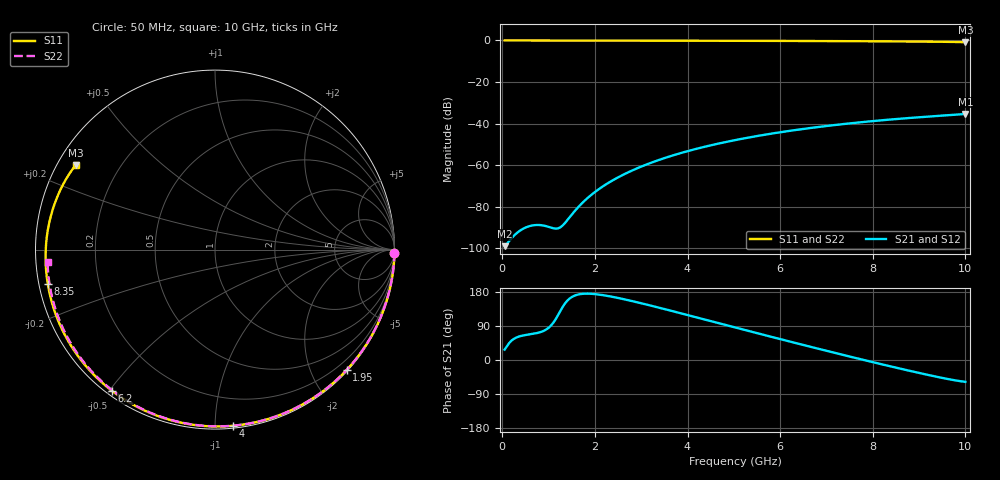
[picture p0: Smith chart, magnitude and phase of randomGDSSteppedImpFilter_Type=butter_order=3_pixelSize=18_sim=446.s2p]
! freq	dB(S11)	phase(S11)	dB(S12)	phase(S12)
!  dB(S21)	phase(S21)	dB(S22)	phase(S22)
!S-par simulation data
#  GHz  S  DB  R 50
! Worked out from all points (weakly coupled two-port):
!   200 points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, 50 MHz to 10 GHz, reference 50 ohm
!   highest |S21| = -35.42 dB at 10 GHz (marker M1); lowest = -99.1 dB at 50 MHz (marker M2)
!   lowest |S11| = -0.8 dB at 10 GHz (marker M3), VSWR 20.72, Z = 2.6 + j14 ohm
!   |S11| at or under -10 dB: nowhere
!   |S22| runs from -0.6 to 0.0 dB; largest |S21 - S12| = 0
!   S11 on the Smith chart (normalised r, x): 50 MHz: open; 1.95 GHz: 0.02, -2.58; 4 GHz: 0.01, -1.11; 6.2 GHz: 0.02, -0.51; 8.35 GHz: 0.03, -0.10; 10 GHz: 0.05, +0.28
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0.05  -0.00 -1.1  -99.07 27.4  -99.07 27.4  -0.00 -1.0
0.8  -0.02 -17.6  -88.89 72.7  -88.89 72.7  -0.02 -16.1
1.2  -0.03 -26.3  -90.52 117.6  -90.52 117.6  -0.03 -24.0
1.65  -0.05 -36.0  -80.02 173.1  -80.02 173.1  -0.04 -32.8
1.75  -0.05 -38.1  -77.76 174.8  -77.76 174.8  -0.04 -34.7
1.95  -0.05 -42.4  -73.86 174.5  -73.86 174.5  -0.05 -38.6
2.25  -0.06 -48.7  -69.16 169.6  -69.16 169.6  -0.06 -44.3
2.6  -0.07 -56.0  -64.79 161.1  -64.79 161.1  -0.07 -51.0
3  -0.08 -64.2  -60.75 149.8  -60.75 149.8  -0.08 -58.4
3.4  -0.10 -72.2  -57.41 137.6  -57.41 137.6  -0.09 -65.7
4  -0.12 -84.1  -53.32 118.7  -53.32 118.7  -0.11 -76.5
4.5  -0.14 -93.8  -50.51 102.7  -50.51 102.7  -0.12 -85.2
5.05  -0.16 -104.3  -47.89 85.1  -47.89 85.1  -0.15 -94.6
5.6  -0.19 -114.7  -45.65 67.7  -45.65 67.7  -0.17 -103.7
6.2  -0.23 -126.0  -43.55 48.9  -43.55 48.9  -0.21 -113.6
6.7  -0.27 -135.5  -42.03 33.5  -42.03 33.5  -0.24 -121.7
7.55  -0.34 -152.0  -39.82 7.7  -39.82 7.7  -0.30 -135.3
8.35  -0.43 -168.4  -38.14 -15.9  -38.14 -15.9  -0.38 -148.2
8.85  -0.51 -179.5  -37.24 -30.0  -37.24 -30.0  -0.43 -156.3
9.3  -0.59 169.7  -36.50 -42.2  -36.50 -42.2  -0.49 -163.8
9.7  -0.69 158.6  -35.87 -52.0  -35.87 -52.0  -0.54 -170.6
10  -0.84 148.7  -35.42 -57.7  -35.42 -57.7  -0.58 -175.8
